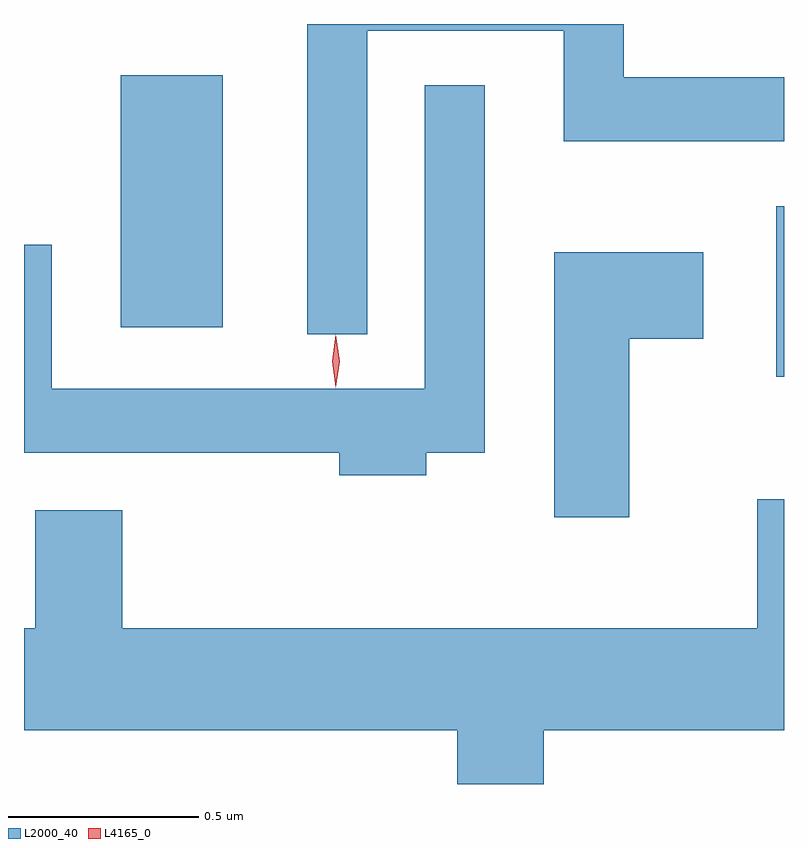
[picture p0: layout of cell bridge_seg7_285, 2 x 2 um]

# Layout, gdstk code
import gdstk
lib = gdstk.Library(unit=1e-6, precision=1e-09)
def R(c, l, rs):  # rectangles x0, y0, x1, y1
    for r in rs: c.add(gdstk.rectangle(r[:2], r[2:], *l))
def P(c, l, *ps):  # polygons
    for p in ps: c.add(gdstk.Polygon(p, *l))
L2000_40 = (2000, 40)
L4165_0 = (4165, 0)

bridge_seg7_285 = lib.new_cell('bridge_seg7_285')
R(bridge_seg7_285, L2000_40, [(1262.611,1801.826,1262.631,1802.274), (1260.886,1801.956,1261.154,1802.619)])
P(bridge_seg7_285, L2000_40, [(1261.534,1802.736),(1262.051,1802.736),(1262.051,1802.446),(1262.631,1802.446),(1262.631,1802.614),(1262.209,1802.614),(1262.209,1802.754),(1261.376,1802.754),(1261.376,1801.938),(1261.534,1801.938)],
  [(1261.689,1801.626),(1261.844,1801.626),(1261.844,1802.593),(1261.686,1802.593),(1261.686,1801.794),(1260.704,1801.794),(1260.704,1802.173),(1260.631,1802.173),(1260.631,1801.626),(1261.461,1801.626),(1261.461,1801.566),(1261.689,1801.566)],
  [(1262.224,1801.926),(1262.419,1801.926),(1262.419,1802.154),(1262.026,1802.154),(1262.026,1801.456),(1262.224,1801.456)],
  [(1261.999,1800.896),(1262.631,1800.896),(1262.631,1801.504),(1262.561,1801.504),(1262.561,1801.164),(1260.889,1801.164),(1260.889,1801.474),(1260.661,1801.474),(1260.661,1801.164),(1260.631,1801.164),(1260.631,1800.896),(1261.771,1800.896),(1261.771,1800.754),(1261.999,1800.754)])
P(bridge_seg7_285, L4165_0, [(1261.452,1801.797),(1261.451,1801.798),(1261.442,1801.867),(1261.451,1801.936),(1261.452,1801.936),(1261.452,1801.936),(1261.462,1801.867),(1261.452,1801.798)])

lib.write_gds('bridge_seg7_285.gds')
